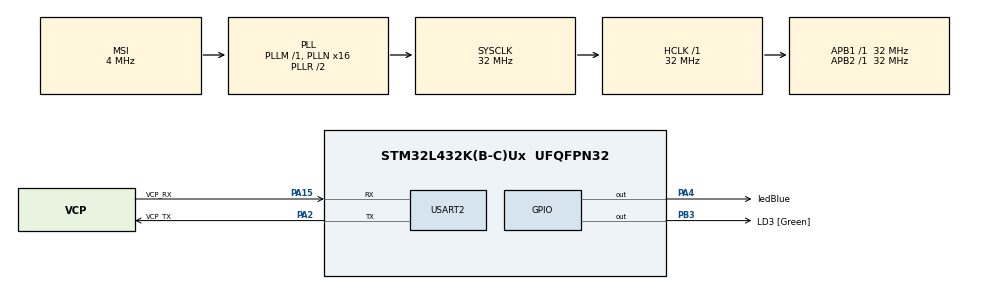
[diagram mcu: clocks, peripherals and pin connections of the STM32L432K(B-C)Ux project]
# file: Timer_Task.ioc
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Mcu.Family=STM32L4
Mcu.Name=STM32L432K(B-C)Ux
Mcu.Package=UFQFPN32
NVIC.PriorityGroup=NVIC_PRIORITYGROUP_4
NVIC.TIM6_DAC_IRQn=true\:0\:0\:false\:false\:true\:true\:true\:true
PA0.GPIO_Label=MCO [High speed clock in]
PA0.Mode=HSE-External-Clock-Source-for-LittleOrca
PA0.Signal=RCC_CK_IN
PA13\ (JTMS-SWDIO).GPIO_Label=SWDIO
PA13\ (JTMS-SWDIO).Mode=Serial_Wire
PA13\ (JTMS-SWDIO).Signal=SYS_JTMS-SWDIO
PA14\ (JTCK-SWCLK).GPIO_Label=SWCLK
PA14\ (JTCK-SWCLK).Mode=Serial_Wire
PA14\ (JTCK-SWCLK).Signal=SYS_JTCK-SWCLK
PA15\ (JTDI).GPIO_Label=VCP_RX
PA15\ (JTDI).Mode=Asynchronous
PA15\ (JTDI).Signal=USART2_RX
PA2.GPIO_Label=VCP_TX
PA2.Mode=Asynchronous
PA2.Signal=USART2_TX
PA4.GPIO_Label=ledBlue
PA4.PinState=GPIO_PIN_SET
PA4.Signal=GPIO_Output
PB3\ (JTDO-TRACESWO).GPIO_Label=LD3 [Green]
PB3\ (JTDO-TRACESWO).Signal=GPIO_Output
PC14-OSC32_IN\ (PC14).Mode=LSE-External-Oscillator
PC14-OSC32_IN\ (PC14).Signal=RCC_OSC32_IN
PC15-OSC32_OUT\ (PC15).Mode=LSE-External-Oscillator
PC15-OSC32_OUT\ (PC15).Signal=RCC_OSC32_OUT
ProjectManager.HeapSize=0x200
ProjectManager.StackSize=0x400
ProjectManager.TargetToolchain=STM32CubeIDE
RCC.AHBFreq_Value=32000000
RCC.APB1Freq_Value=32000000
RCC.APB1TimFreq_Value=32000000
RCC.APB2Freq_Value=32000000
RCC.APB2TimFreq_Value=32000000
RCC.CortexFreq_Value=32000000
RCC.HCLKFreq_Value=32000000
RCC.HSE_VALUE=8000000
RCC.HSI16_VALUE=16000000
RCC.HSI48_VALUE=48000000
RCC.HSI_VALUE=16000000
RCC.MSI_VALUE=4000000
RCC.PLLMUL=RCC_PLLMUL_4
RCC.PLLN=16
RCC.SYSCLKFreq_VALUE=32000000
RCC.SYSCLKSource=RCC_SYSCLKSOURCE_PLLCLK
RCC.VCOOutputFreq_Value=64000000
TIM6.AutoReloadPreload=TIM_AUTORELOAD_PRELOAD_ENABLE
TIM6.Period=1000
TIM6.Prescaler=319
USART2.VirtualMode-Asynchronous=VM_ASYNC
VP_TIM6_VS_ClockSourceINT.Mode=Enable_Timer
board=NUCLEO-L432KC

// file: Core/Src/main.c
/* USER CODE BEGIN Header */
/**
  ******************************************************************************
  * @file           : main.c
  * @brief          : Main program body
  ******************************************************************************
  * @attention
  *
  * Copyright (c) 2022 STMicroelectronics.
  * All rights reserved.
  *
  * This software is licensed under terms that can be found in the LICENSE file
  * in the root directory of this software component.
  * If no LICENSE file comes with this software, it is provided AS-IS.
  *
  ******************************************************************************
  */
/* USER CODE END Header */
#include "main.h"

TIM_HandleTypeDef htim6;

UART_HandleTypeDef huart2;

/* USER CODE BEGIN PV */

//these are the possible states the delay can be in
typedef enum{
	t6off, //timer is not running
	wait, //timer is running and code is waiting for interrupt
	resume //timer interrupt has occurred
}delayStates;

delayStates delayState = t6off;

int delaytime = 10000; //set the duration of the delay in 10us

/* USER CODE END PV */

void SystemClock_Config(void);
static void MX_GPIO_Init(void);
static void MX_USART2_UART_Init(void);
static void MX_TIM6_Init(void);

/* USER CODE BEGIN 0 */

/**
  * @brief toggle function with no parameters that toggles the blue LED
  * @param None
  * @retval None
  */
void toggleBlue(){
	HAL_GPIO_TogglePin(ledBlue_GPIO_Port, ledBlue_Pin);
}

/**
  * @brief function that blocks the stm32 for a specific time.
  * @param int time: sets the time
  * @retval None
  */
void _tim_timeout_blocking(int time){
	TIM6->ARR = time; //writes time into the auto reload register of timer 6
	HAL_TIM_Base_Start_IT(&htim6); //starts the timer
	HAL_SuspendTick(); //prepare stm32 for sleep mode
	HAL_PWR_EnterSLEEPMode(PWR_MAINREGULATOR_ON, PWR_SLEEPENTRY_WFI); //sets stm32 into sleep mode
	HAL_TIM_Base_Stop_IT(&htim6); //stops the timer after the timer interrupt woke mcu from sleep
}

/**
  * @brief function that executes function after a specific time
  * @param void (*f)(): Pointer to the function that will be executed after the delay time. (note that the function can not have any parameters)
  * 		int time: sets the time
  * @retval None
  */
void _tim_timeout_nonblocking_with_callback(void(*f)(),int time){
	if(delayState==t6off){ //if timer is turned off when function is called
		TIM6->ARR = time; //write time into the auto reload register of timer 6
		HAL_TIM_Base_Start_IT(&htim6); //and start the timer
		delayState = wait; //and set delaystate to wait
	}else if(delayState==wait){
		//wait for timeout to end
	}else if(delayState==resume){ //when the timer interrupt occurred
		(*f)(); //Execute this function
		HAL_TIM_Base_Stop_IT(&htim6); //stop the timer
		delayState = t6off; //and set delaystate to t6off
	}
}

/* USER CODE END 0 */

int main(void)
{

  /* MCU Configuration--------------------------------------------------------*/

  /* Reset of all peripherals, Initializes the Flash interface and the Systick. */
  HAL_Init();

  /* Configure the system clock */
  SystemClock_Config();

  /* Initialize all configured peripherals */
  MX_GPIO_Init();
  MX_USART2_UART_Init();
  MX_TIM6_Init();

  /* Infinite loop */
  while (1)
  {

    /* USER CODE BEGIN 3 */

//	while(1){
//		_tim_timeout_nonblocking_with_callback(toggleBlue, delaytime);
//		HAL_GPIO_TogglePin(GPIOB, GPIO_PIN_3); //toggles the green LED to show that the function above is non blocking (LED should look like its turned on the entire time)
//	}

	while(1){
		_tim_timeout_blocking(delaytime);
		toggleBlue();
		HAL_GPIO_TogglePin(GPIOB, GPIO_PIN_3); //toggles the green LED to show that the function above is blocking (LED should blink like the blue LED)
	}

  }
  /* USER CODE END 3 */
}

void SystemClock_Config(void)
{
  RCC_OscInitTypeDef RCC_OscInitStruct = {0};
  RCC_ClkInitTypeDef RCC_ClkInitStruct = {0};

  /** Configure the main internal regulator output voltage
  */
  if (HAL_PWREx_ControlVoltageScaling(PWR_REGULATOR_VOLTAGE_SCALE1) != HAL_OK)
  {
    Error_Handler();
  }

  /** Configure LSE Drive Capability
  */
  HAL_PWR_EnableBkUpAccess();
  __HAL_RCC_LSEDRIVE_CONFIG(RCC_LSEDRIVE_LOW);

  /** Initializes the RCC Oscillators according to the specified parameters
  * in the RCC_OscInitTypeDef structure.
  */
  RCC_OscInitStruct.OscillatorType = RCC_OSCILLATORTYPE_LSE|RCC_OSCILLATORTYPE_MSI;
  RCC_OscInitStruct.LSEState = RCC_LSE_ON;
  RCC_OscInitStruct.MSIState = RCC_MSI_ON;
  RCC_OscInitStruct.MSICalibrationValue = 0;
  RCC_OscInitStruct.MSIClockRange = RCC_MSIRANGE_6;
  RCC_OscInitStruct.PLL.PLLState = RCC_PLL_ON;
  RCC_OscInitStruct.PLL.PLLSource = RCC_PLLSOURCE_MSI;
  RCC_OscInitStruct.PLL.PLLM = 1;
  RCC_OscInitStruct.PLL.PLLN = 16;
  RCC_OscInitStruct.PLL.PLLP = RCC_PLLP_DIV7;
  RCC_OscInitStruct.PLL.PLLQ = RCC_PLLQ_DIV2;
  RCC_OscInitStruct.PLL.PLLR = RCC_PLLR_DIV2;
  if (HAL_RCC_OscConfig(&RCC_OscInitStruct) != HAL_OK)
  {
    Error_Handler();
  }

  /** Initializes the CPU, AHB and APB buses clocks
  */
  RCC_ClkInitStruct.ClockType = RCC_CLOCKTYPE_HCLK|RCC_CLOCKTYPE_SYSCLK
                              |RCC_CLOCKTYPE_PCLK1|RCC_CLOCKTYPE_PCLK2;
  RCC_ClkInitStruct.SYSCLKSource = RCC_SYSCLKSOURCE_PLLCLK;
  RCC_ClkInitStruct.AHBCLKDivider = RCC_SYSCLK_DIV1;
  RCC_ClkInitStruct.APB1CLKDivider = RCC_HCLK_DIV1;
  RCC_ClkInitStruct.APB2CLKDivider = RCC_HCLK_DIV1;

  if (HAL_RCC_ClockConfig(&RCC_ClkInitStruct, FLASH_LATENCY_1) != HAL_OK)
  {
    Error_Handler();
  }

  /** Enable MSI Auto calibration
  */
  HAL_RCCEx_EnableMSIPLLMode();
}

static void MX_TIM6_Init(void)
{

  TIM_MasterConfigTypeDef sMasterConfig = {0};

  htim6.Instance = TIM6;
  htim6.Init.Prescaler = 319;
  htim6.Init.CounterMode = TIM_COUNTERMODE_UP;
  htim6.Init.Period = 1000;
  htim6.Init.AutoReloadPreload = TIM_AUTORELOAD_PRELOAD_ENABLE;
  if (HAL_TIM_Base_Init(&htim6) != HAL_OK)
  {
    Error_Handler();
  }
  sMasterConfig.MasterOutputTrigger = TIM_TRGO_RESET;
  sMasterConfig.MasterSlaveMode = TIM_MASTERSLAVEMODE_DISABLE;
  if (HAL_TIMEx_MasterConfigSynchronization(&htim6, &sMasterConfig) != HAL_OK)
  {
    Error_Handler();
  }

}

static void MX_USART2_UART_Init(void)
{

  huart2.Instance = USART2;
  huart2.Init.BaudRate = 115200;
  huart2.Init.WordLength = UART_WORDLENGTH_8B;
  huart2.Init.StopBits = UART_STOPBITS_1;
  huart2.Init.Parity = UART_PARITY_NONE;
  huart2.Init.Mode = UART_MODE_TX_RX;
  huart2.Init.HwFlowCtl = UART_HWCONTROL_NONE;
  huart2.Init.OverSampling = UART_OVERSAMPLING_16;
  huart2.Init.OneBitSampling = UART_ONE_BIT_SAMPLE_DISABLE;
  huart2.AdvancedInit.AdvFeatureInit = UART_ADVFEATURE_NO_INIT;
  if (HAL_UART_Init(&huart2) != HAL_OK)
  {
    Error_Handler();
  }

}

static void MX_GPIO_Init(void)
{
  GPIO_InitTypeDef GPIO_InitStruct = {0};

  /* GPIO Ports Clock Enable */
  __HAL_RCC_GPIOC_CLK_ENABLE();
  __HAL_RCC_GPIOA_CLK_ENABLE();
  __HAL_RCC_GPIOB_CLK_ENABLE();

  /*Configure GPIO pin Output Level */
  HAL_GPIO_WritePin(ledBlue_GPIO_Port, ledBlue_Pin, GPIO_PIN_SET);

  /*Configure GPIO pin Output Level */
  HAL_GPIO_WritePin(LD3_GPIO_Port, LD3_Pin, GPIO_PIN_RESET);

  /*Configure GPIO pin : ledBlue_Pin */
  GPIO_InitStruct.Pin = ledBlue_Pin;
  GPIO_InitStruct.Mode = GPIO_MODE_OUTPUT_PP;
  GPIO_InitStruct.Pull = GPIO_NOPULL;
  GPIO_InitStruct.Speed = GPIO_SPEED_FREQ_LOW;
  HAL_GPIO_Init(ledBlue_GPIO_Port, &GPIO_InitStruct);

  /*Configure GPIO pin : LD3_Pin */
  GPIO_InitStruct.Pin = LD3_Pin;
  GPIO_InitStruct.Mode = GPIO_MODE_OUTPUT_PP;
  GPIO_InitStruct.Pull = GPIO_NOPULL;
  GPIO_InitStruct.Speed = GPIO_SPEED_FREQ_LOW;
  HAL_GPIO_Init(LD3_GPIO_Port, &GPIO_InitStruct);

}

/* USER CODE BEGIN 4 */

void HAL_TIM_PeriodElapsedCallback(TIM_HandleTypeDef *htim){
	delayState = resume; //sets delay state to resume
	HAL_ResumeTick(); //resumes tick in case mcu is in sleep mode
}

/* USER CODE END 4 */

void Error_Handler(void)
{
  __disable_irq();
  while (1)
  {
  }
}
